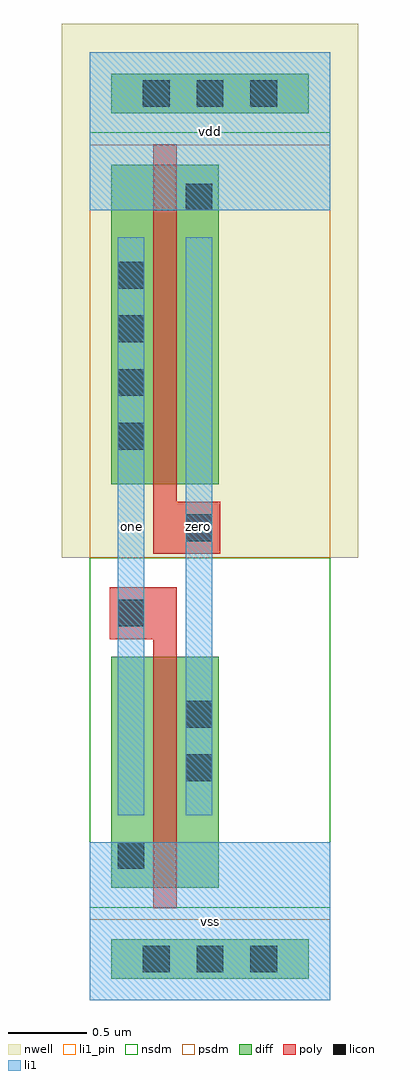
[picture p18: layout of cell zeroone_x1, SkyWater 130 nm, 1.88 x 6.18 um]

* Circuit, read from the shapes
.subckt zeroone_x1 one vdd vss zero
XM1 zero one vss VSUBS sky130_fd_pr__nfet_01v8 w=1.465 l=0.15
XM2 vdd zero one n1 sky130_fd_pr__pfet_01v8 w=2.025 l=0.15
.ends

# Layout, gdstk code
import gdstk
lib = gdstk.Library(unit=1e-6, precision=1e-09)
def R(c, l, rs):  # rectangles x0, y0, x1, y1
    for r in rs: c.add(gdstk.rectangle(r[:2], r[2:], *l))
def A(c, l, x, y, w, h, nx, ny, dx, dy):  # array of equal rectangles
    R(c, l, [(x+i*dx, y+j*dy, x+i*dx+w, y+j*dy+h) for i in range(nx) for j in range(ny)])
def P(c, l, *ps):  # polygons
    for p in ps: c.add(gdstk.Polygon(p, *l))
nwell = (64, 20)
diff = (65, 20)
poly = (66, 20)
licon = (66, 44)
li1_pin = (67, 16)
li1 = (67, 20)
nsdm = (93, 44)
psdm = (94, 20)

zeroone_x1 = lib.new_cell('zeroone_x1')
R(zeroone_x1, nwell, [(-0.18,2.8,1.7,6.18)])
R(zeroone_x1, diff, [(0.135,0.135,1.385,0.385), (0.135,0.71,0.815,2.175), (0.135,3.265,0.815,5.29), (0.135,5.615,1.385,5.865)])
P(zeroone_x1, poly, [(0.4,0.58),(0.4,2.285),(0.125,2.285),(0.125,2.615),(0.55,2.615),(0.55,0.58)],
  [(0.4,2.825),(0.4,5.42),(0.55,5.42),(0.55,3.155),(0.825,3.155),(0.825,2.825)])
A(zeroone_x1, licon, 0.335, 0.175, 0.17, 0.17, 3, 2, 0.34, 5.48)
A(zeroone_x1, licon, 0.175, 3.485, 0.17, 0.17, 1, 4, 0, 0.34)
R(zeroone_x1, licon, [(0.175,0.83,0.345,1), (0.605,1.385,0.775,1.555), (0.605,1.725,0.775,1.895), (0.175,2.365,0.345,2.535), (0.605,2.905,0.775,3.075), (0.605,5,0.775,5.17)])
R(zeroone_x1, li1_pin, [(0,0,1.52,1), (0.175,1.17,0.345,4.83), (0.605,1.17,0.775,4.83), (0,5,1.52,6)])
R(zeroone_x1, li1, [(0,0,1.52,1), (0.175,1.17,0.345,4.83), (0.605,1.17,0.775,4.83), (0,5,1.52,6)])
R(zeroone_x1, nsdm, [(0,0.585,1.52,2.8), (0,5.49,1.52,6)])
R(zeroone_x1, psdm, [(0,0,1.52,0.51), (0,2.8,1.52,5.415)])
zeroone_x1.add(gdstk.Label('vss', (0.76,0.5), layer=67, texttype=16))
zeroone_x1.add(gdstk.Label('one', (0.26,3), layer=67, texttype=16))
zeroone_x1.add(gdstk.Label('vdd', (0.76,5.5), layer=67, texttype=16))
zeroone_x1.add(gdstk.Label('zero', (0.69,3), layer=67, texttype=16))

lib.write_gds('zeroone_x1.gds')
